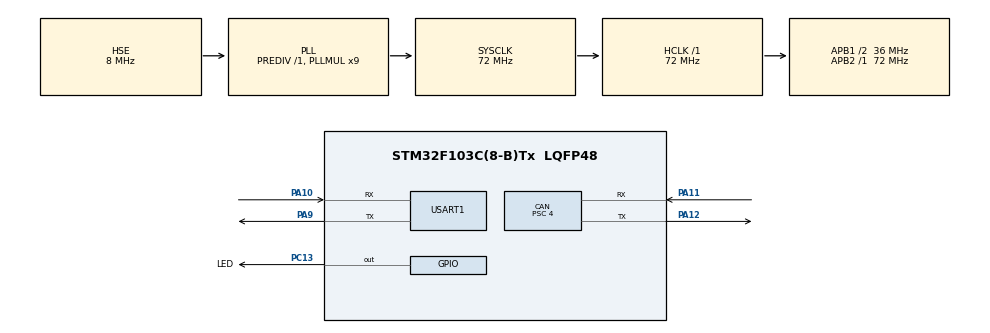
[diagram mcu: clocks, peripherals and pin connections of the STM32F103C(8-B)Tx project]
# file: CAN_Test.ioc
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CAN.BS1=CAN_BS1_15TQ
CAN.BS2=CAN_BS2_2TQ
CAN.CalculateBaudRate=500000
CAN.CalculateTimeBit=2000
CAN.CalculateTimeQuantum=111.11111111111111
CAN.Mode=CAN_MODE_NORMAL
CAN.Prescaler=4
FREERTOS.Tasks01=mCANRec,8,128,tCANRec,Default,NULL,Dynamic,NULL,NULL;mBlinkLed,40,128,tBlinkLed,Default,NULL,Dynamic,NULL,NULL;mMainTask,24,128,tMainTask,Default,NULL,Dynamic,NULL,NULL
Mcu.Family=STM32F1
Mcu.Name=STM32F103C(8-B)Tx
Mcu.Package=LQFP48
NVIC.PriorityGroup=NVIC_PRIORITYGROUP_4
PA10.Mode=Asynchronous
PA10.Signal=USART1_RX
PA11.Mode=CAN_Activate
PA11.Signal=CAN_RX
PA12.Mode=CAN_Activate
PA12.Signal=CAN_TX
PA13.Mode=Serial_Wire
PA13.Signal=SYS_JTMS-SWDIO
PA14.Mode=Serial_Wire
PA14.Signal=SYS_JTCK-SWCLK
PA9.Mode=Asynchronous
PA9.Signal=USART1_TX
PC13-TAMPER-RTC.GPIO_Label=LED
PC13-TAMPER-RTC.Signal=GPIO_Output
PD0-OSC_IN.Mode=HSE-External-Oscillator
PD0-OSC_IN.Signal=RCC_OSC_IN
PD1-OSC_OUT.Mode=HSE-External-Oscillator
PD1-OSC_OUT.Signal=RCC_OSC_OUT
ProjectManager.HeapSize=0x200
ProjectManager.StackSize=0x400
ProjectManager.TargetToolchain=STM32CubeIDE
RCC.AHBFreq_Value=72000000
RCC.APB1CLKDivider=RCC_HCLK_DIV2
RCC.APB1Freq_Value=36000000
RCC.APB1TimFreq_Value=72000000
RCC.APB2Freq_Value=72000000
RCC.APB2TimFreq_Value=72000000
RCC.HCLKFreq_Value=72000000
RCC.PLLMUL=RCC_PLL_MUL9
RCC.PLLSourceVirtual=RCC_PLLSOURCE_HSE
RCC.SYSCLKFreq_VALUE=72000000
RCC.SYSCLKSource=RCC_SYSCLKSOURCE_PLLCLK
RCC.USBFreq_Value=72000000
USART1.VirtualMode=VM_ASYNC
VP_FREERTOS_VS_CMSIS_V2.Mode=CMSIS_V2
board=custom

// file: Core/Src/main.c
/* USER CODE BEGIN Header */
/**
  ******************************************************************************
  * @file           : main.c
  * @brief          : Main program body
  ******************************************************************************
  * @attention
  *
  * Copyright (c) 2023 STMicroelectronics.
  * All rights reserved.
  *
  * This software is licensed under terms that can be found in the LICENSE file
  * in the root directory of this software component.
  * If no LICENSE file comes with this software, it is provided AS-IS.
  *
  ******************************************************************************
  */
/* USER CODE END Header */
#include "main.h"
#include "cmsis_os.h"

/* USER CODE BEGIN Includes */
#include "canframe.h"
/* USER CODE END Includes */

CAN_HandleTypeDef hcan;

UART_HandleTypeDef huart1;

/* Definitions for mCANRec */
osThreadId_t mCANRecHandle;
const osThreadAttr_t mCANRec_attributes = {
  .name = "mCANRec",
  .stack_size = 128 * 4,
  .priority = (osPriority_t) osPriorityLow,
};
/* Definitions for mBlinkLed */
osThreadId_t mBlinkLedHandle;
const osThreadAttr_t mBlinkLed_attributes = {
  .name = "mBlinkLed",
  .stack_size = 128 * 4,
  .priority = (osPriority_t) osPriorityHigh,
};
/* Definitions for mMainTask */
osThreadId_t mMainTaskHandle;
const osThreadAttr_t mMainTask_attributes = {
  .name = "mMainTask",
  .stack_size = 128 * 4,
  .priority = (osPriority_t) osPriorityNormal,
};

void SystemClock_Config(void);
static void MX_GPIO_Init(void);
static void MX_CAN_Init(void);
static void MX_USART1_UART_Init(void);
void tCANRec(void *argument);
void tBlinkLed(void *argument);
void tMainTask(void *argument);

int main(void)
{

  /* MCU Configuration--------------------------------------------------------*/

  /* Reset of all peripherals, Initializes the Flash interface and the Systick. */
  HAL_Init();

  /* Configure the system clock */
  SystemClock_Config();

  /* Initialize all configured peripherals */
  MX_GPIO_Init();
  MX_CAN_Init();
  MX_USART1_UART_Init();
  /* USER CODE BEGIN 2 */
  CAN_Config_filtering();
  if(HAL_CAN_Start(&hcan)!=HAL_OK)
  {
  	Error_Handler();
  }
  /* USER CODE END 2 */

  /* Init scheduler */
  osKernelInitialize();

  /* Create the thread(s) */
  /* creation of mCANRec */
  mCANRecHandle = osThreadNew(tCANRec, NULL, &mCANRec_attributes);

  /* creation of mBlinkLed */
  mBlinkLedHandle = osThreadNew(tBlinkLed, NULL, &mBlinkLed_attributes);

  /* creation of mMainTask */
  mMainTaskHandle = osThreadNew(tMainTask, NULL, &mMainTask_attributes);

  /* Start scheduler */
  osKernelStart();
  /* We should never get here as control is now taken by the scheduler */
  /* Infinite loop */
  while (1)
  {

  }
}

void SystemClock_Config(void)
{
  RCC_OscInitTypeDef RCC_OscInitStruct = {0};
  RCC_ClkInitTypeDef RCC_ClkInitStruct = {0};

  /** Initializes the RCC Oscillators according to the specified parameters
  * in the RCC_OscInitTypeDef structure.
  */
  RCC_OscInitStruct.OscillatorType = RCC_OSCILLATORTYPE_HSE;
  RCC_OscInitStruct.HSEState = RCC_HSE_ON;
  RCC_OscInitStruct.HSEPredivValue = RCC_HSE_PREDIV_DIV1;
  RCC_OscInitStruct.HSIState = RCC_HSI_ON;
  RCC_OscInitStruct.PLL.PLLState = RCC_PLL_ON;
  RCC_OscInitStruct.PLL.PLLSource = RCC_PLLSOURCE_HSE;
  RCC_OscInitStruct.PLL.PLLMUL = RCC_PLL_MUL9;
  if (HAL_RCC_OscConfig(&RCC_OscInitStruct) != HAL_OK)
  {
    Error_Handler();
  }

  /** Initializes the CPU, AHB and APB buses clocks
  */
  RCC_ClkInitStruct.ClockType = RCC_CLOCKTYPE_HCLK|RCC_CLOCKTYPE_SYSCLK
                              |RCC_CLOCKTYPE_PCLK1|RCC_CLOCKTYPE_PCLK2;
  RCC_ClkInitStruct.SYSCLKSource = RCC_SYSCLKSOURCE_PLLCLK;
  RCC_ClkInitStruct.AHBCLKDivider = RCC_SYSCLK_DIV1;
  RCC_ClkInitStruct.APB1CLKDivider = RCC_HCLK_DIV2;
  RCC_ClkInitStruct.APB2CLKDivider = RCC_HCLK_DIV1;

  if (HAL_RCC_ClockConfig(&RCC_ClkInitStruct, FLASH_LATENCY_2) != HAL_OK)
  {
    Error_Handler();
  }
}

static void MX_CAN_Init(void)
{

  hcan.Instance = CAN1;
  hcan.Init.Prescaler = 4;
  hcan.Init.Mode = CAN_MODE_NORMAL;
  hcan.Init.SyncJumpWidth = CAN_SJW_1TQ;
  hcan.Init.TimeSeg1 = CAN_BS1_15TQ;
  hcan.Init.TimeSeg2 = CAN_BS2_2TQ;
  hcan.Init.TimeTriggeredMode = DISABLE;
  hcan.Init.AutoBusOff = DISABLE;
  hcan.Init.AutoWakeUp = DISABLE;
  hcan.Init.AutoRetransmission = DISABLE;
  hcan.Init.ReceiveFifoLocked = DISABLE;
  hcan.Init.TransmitFifoPriority = DISABLE;
  if (HAL_CAN_Init(&hcan) != HAL_OK)
  {
    Error_Handler();
  }

}

static void MX_USART1_UART_Init(void)
{

  huart1.Instance = USART1;
  huart1.Init.BaudRate = 115200;
  huart1.Init.WordLength = UART_WORDLENGTH_8B;
  huart1.Init.StopBits = UART_STOPBITS_1;
  huart1.Init.Parity = UART_PARITY_NONE;
  huart1.Init.Mode = UART_MODE_TX_RX;
  huart1.Init.HwFlowCtl = UART_HWCONTROL_NONE;
  huart1.Init.OverSampling = UART_OVERSAMPLING_16;
  if (HAL_UART_Init(&huart1) != HAL_OK)
  {
    Error_Handler();
  }

}

static void MX_GPIO_Init(void)
{
  GPIO_InitTypeDef GPIO_InitStruct = {0};

  /* GPIO Ports Clock Enable */
  __HAL_RCC_GPIOC_CLK_ENABLE();
  __HAL_RCC_GPIOD_CLK_ENABLE();
  __HAL_RCC_GPIOA_CLK_ENABLE();

  /*Configure GPIO pin Output Level */
  HAL_GPIO_WritePin(LED_GPIO_Port, LED_Pin, GPIO_PIN_RESET);

  /*Configure GPIO pin : LED_Pin */
  GPIO_InitStruct.Pin = LED_Pin;
  GPIO_InitStruct.Mode = GPIO_MODE_OUTPUT_PP;
  GPIO_InitStruct.Pull = GPIO_NOPULL;
  GPIO_InitStruct.Speed = GPIO_SPEED_FREQ_LOW;
  HAL_GPIO_Init(LED_GPIO_Port, &GPIO_InitStruct);

}

void tCANRec(void *argument)
{
  /* USER CODE BEGIN 5 */
	uint8_t Receivedata[100]={0};
	 CANConfigIDRxtypedef test1;
		  test1.MessageType=ALL_NODE;
		  test1.TargetNode=ALL_NODE;
		  test1.SenderID=POWER;
	uint8_t rcvLen = 0;
  /* Infinite loop */
  for(;;)
  {
	CAN_Receive_Dataframe(&test1,Receivedata,&rcvLen);
	char Print[100] = {0};
	uint8_t len = sprintf(Print, "Node 1 Rcv: %s len %d \r\n", Receivedata, rcvLen);
	HAL_UART_Transmit(&huart1,(uint8_t*)Print,len,HAL_MAX_DELAY);
    //osDelay(1);
  }
  /* USER CODE END 5 */
}

void tBlinkLed(void *argument)
{
  /* USER CODE BEGIN tBlinkLed */
  /* Infinite loop */
  for(;;)
  {
	HAL_GPIO_TogglePin(LED_GPIO_Port, LED_Pin);
    osDelay(500);
  }
  /* USER CODE END tBlinkLed */
}

void tMainTask(void *argument)
{
  /* USER CODE BEGIN tMainTask */

	  uint8_t sendData[24] = {0};
	  uint8_t len = 0;
	  uint16_t cnt = 0;

	  CANConfigIDTxtypedef test;
	  test.MessageType=ALL_NODE;
	  test.TargetNode=ALL_NODE;
	  test.SenderID=ALL_NODE;
  /* Infinite loop */
  for(;;)
  {
	  len = sprintf((char*)sendData, "From 1 to 2: %d\r\n", cnt++);
	  CAN_Send_Dataframe(&test,sendData,len+1);

    osDelay(50);
  }
  /* USER CODE END tMainTask */
}

void Error_Handler(void)
{
  __disable_irq();
  while (1)
  {
  }
}
